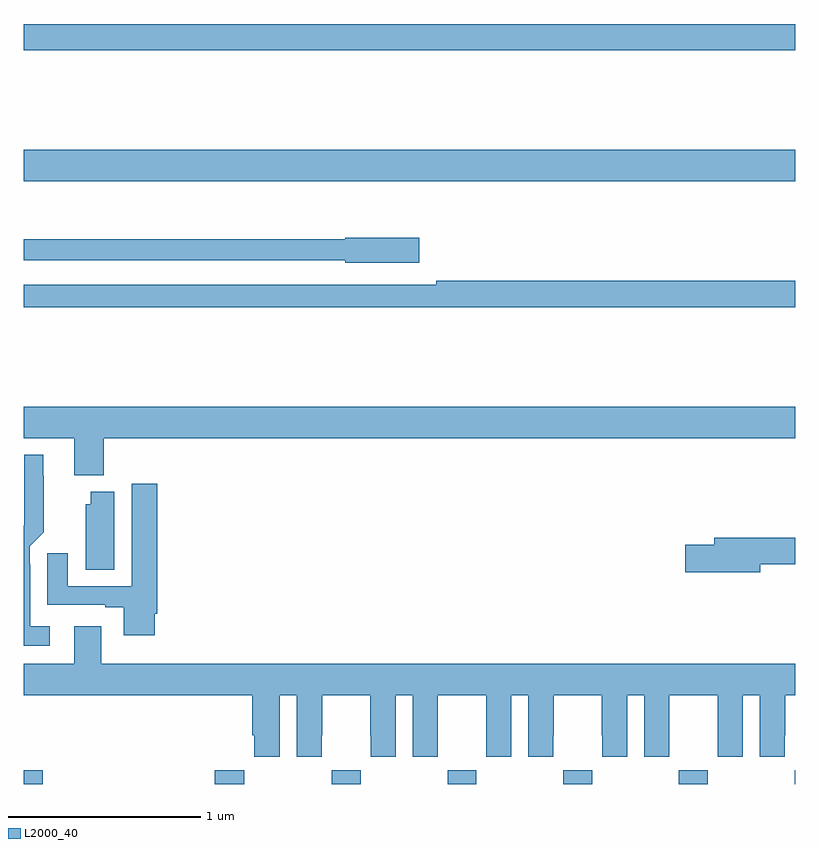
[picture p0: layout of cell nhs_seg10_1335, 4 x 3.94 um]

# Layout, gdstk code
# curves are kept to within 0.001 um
import gdstk
lib = gdstk.Library(unit=1e-6, precision=1e-09)
def R(c, l, rs):  # rectangles x0, y0, x1, y1
    for r in rs: c.add(gdstk.rectangle(r[:2], r[2:], *l))
def A(c, l, x, y, w, h, nx, ny, dx, dy):  # array of equal rectangles
    R(c, l, [(x+i*dx, y+j*dy, x+i*dx+w, y+j*dy+h) for i in range(nx) for j in range(ny)])
def P(c, l, *ps):  # polygons
    for p in ps: c.add(gdstk.Polygon(p, *l))
L2000_40 = (2000, 40)

nhs_seg10_1335 = lib.new_cell('nhs_seg10_1335')
A(nhs_seg10_1335, L2000_40, 180.597, 1322.5, 0.15, 0.072, 4, 1, 0.6, 0)
R(nhs_seg10_1335, L2000_40, [(179,1322.5,179.099,1322.572), (179.99,1322.5,180.143,1322.572), (182.997,1322.5,183,1322.572), (179,1325.624,183,1325.788), (179,1326.304,183,1326.44)])
P(nhs_seg10_1335, L2000_40, [(181.051,1325.331),(180.666,1325.331),(180.666,1325.323),(179,1325.323),(179,1325.214),(180.666,1325.214),(180.666,1325.201),(181.051,1325.201)],
  [(183,1325.108),(181.138,1325.108),(181.138,1325.088),(179,1325.088),(179,1324.972),(183,1324.972)],
  [(179.414,1324.292),(183,1324.292),(183,1324.456),(179,1324.456),(179,1324.292),(179.261,1324.292),(179.261,1324.1),(179.414,1324.1)],
  [(179.134,1323.319),(179.035,1323.319),(179.035,1323.638),(179.031,1323.638),(179.031,1323.732),(179.105,1323.806),(179.105,1324.097),(179.101,1324.097),(179.101,1324.207),(179.003,1324.207),(179.004,1323.844),(179,1323.84),(179,1323.218),(179.134,1323.218)],
  [(179.68,1323.382),(179.693,1323.382),(179.693,1324.057),(179.561,1324.057),(179.561,1323.525),(179.227,1323.525),(179.227,1323.697),(179.123,1323.697),(179.123,1323.429),(179.423,1323.429),(179.423,1323.417),(179.519,1323.417),(179.519,1323.27),(179.68,1323.27)],
  [(179.47,1324.015),(179.348,1324.015),(179.348,1323.951),(179.321,1323.951),(179.321,1323.61),(179.47,1323.61)],
  [(182.818,1323.64),(183,1323.64),(183,1323.776),(182.579,1323.776),(182.579,1323.74),(182.43,1323.74),(182.43,1323.598),(182.818,1323.598)],
  [(180.328,1322.96),(180.416,1322.96),(180.416,1322.64),(180.546,1322.64),(180.546,1322.752),(180.547,1322.752),(180.547,1322.96),(180.797,1322.96),(180.797,1322.752),(180.798,1322.752),(180.798,1322.64),(180.928,1322.64),(180.928,1322.96),(181.016,1322.96),(181.016,1322.64),(181.146,1322.64),(181.146,1322.752),(181.147,1322.752),(181.147,1322.96),(181.397,1322.96),(181.397,1322.752),(181.398,1322.752),(181.398,1322.64),(181.528,1322.64),(181.528,1322.96),(181.616,1322.96),(181.616,1322.64),(181.746,1322.64),(181.746,1322.752),(181.747,1322.752),(181.747,1322.96),(181.997,1322.96),(181.997,1322.752),(181.998,1322.752),(181.998,1322.64),(182.128,1322.64),(182.128,1322.96),(182.216,1322.96),(182.216,1322.64),(182.346,1322.64),(182.346,1322.752),(182.347,1322.752),(182.347,1322.96),(182.597,1322.96),(182.597,1322.752),(182.598,1322.752),(182.598,1322.64),(182.728,1322.64),(182.728,1322.96),(182.816,1322.96),(182.816,1322.64),(182.946,1322.64),(182.946,1322.752),(182.947,1322.752),(182.947,1322.96),(183,1322.96),(183,1323.124),(179.401,1323.124),(179.401,1323.319),(179.261,1323.319),(179.261,1323.124),(179,1323.124),(179,1322.96),(180.185,1322.96),(180.185,1322.752),(180.194,1322.752),(180.194,1322.64),(180.328,1322.64)])

lib.write_gds('nhs_seg10_1335.gds')
